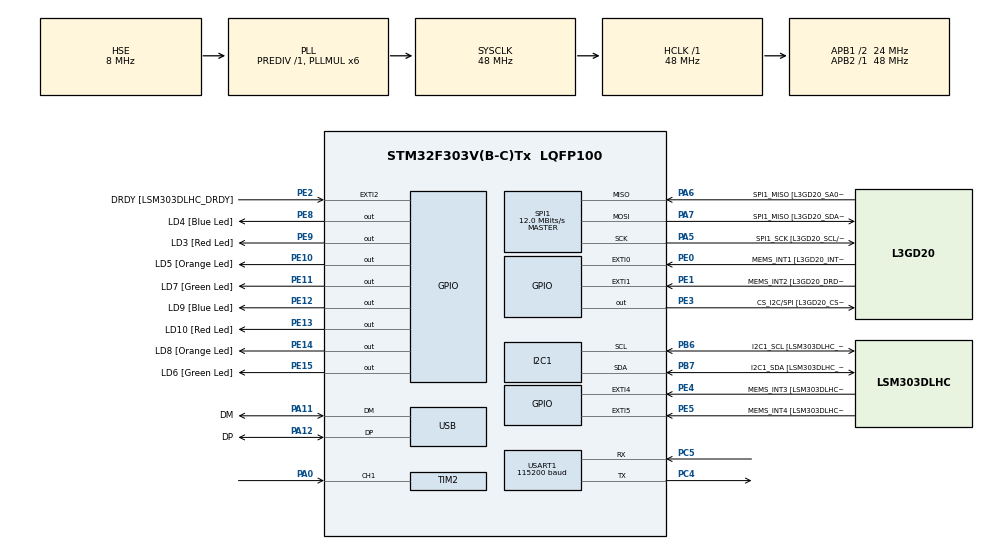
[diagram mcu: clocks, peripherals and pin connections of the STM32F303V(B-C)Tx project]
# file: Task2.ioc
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I2C1.Timing=0x00201D2B
I2C1.Timing-I2C=0x2000090E
Mcu.Family=STM32F3
Mcu.Name=STM32F303V(B-C)Tx
Mcu.Package=LQFP100
NVIC.PriorityGroup=NVIC_PRIORITYGROUP_0
NVIC.TIM2_IRQn=true\:0\:0\:false\:false\:true\:true\:true\:true
PA0.Signal=S_TIM2_CH1_ETR
PA11.GPIO_Label=DM
PA11.Mode=Device
PA11.Signal=USB_DM
PA12.GPIO_Label=DP
PA12.Mode=Device
PA12.Signal=USB_DP
PA13.GPIO_Label=SWDIO
PA13.Mode=Serial_Wire
PA13.Signal=SYS_JTMS-SWDIO
PA14.GPIO_Label=SWCLK
PA14.Mode=Serial_Wire
PA14.Signal=SYS_JTCK-SWCLK
PA5.GPIO_Label=SPI1_SCK [L3GD20_SCL/SPC]
PA5.Mode=Full_Duplex_Master
PA5.Signal=SPI1_SCK
PA6.GPIO_Label=SPI1_MISO [L3GD20_SA0/SDO]
PA6.Mode=Full_Duplex_Master
PA6.Signal=SPI1_MISO
PA7.GPIO_Label=SPI1_MISO [L3GD20_SDA/SDI/SDO]
PA7.Mode=Full_Duplex_Master
PA7.Signal=SPI1_MOSI
PB3.GPIO_Label=SWO
PB3.Signal=SYS_JTDO-TRACESWO
PB6.GPIO_Label=I2C1_SCL [LSM303DLHC_SCL]
PB6.GPIO_Pu=GPIO_PULLUP
PB6.Mode=I2C
PB6.Signal=I2C1_SCL
PB7.GPIO_Label=I2C1_SDA [LSM303DLHC_SDA]
PB7.GPIO_Pu=GPIO_PULLUP
PB7.Mode=I2C
PB7.Signal=I2C1_SDA
PC14-OSC32_IN.GPIO_Label=OSC32_IN
PC14-OSC32_IN.Signal=RCC_OSC32_IN
PC15-OSC32_OUT.GPIO_Label=OSC32_OUT
PC15-OSC32_OUT.Signal=RCC_OSC32_OUT
PC4.Mode=Asynchronous
PC4.Signal=USART1_TX
PC5.Mode=Asynchronous
PC5.Signal=USART1_RX
PE0.GPIO_Label=MEMS_INT1 [L3GD20_INT1]
PE0.GPIO_ModeDefaultEXTI=GPIO_MODE_EVT_RISING
PE0.Signal=GPXTI0
PE1.GPIO_Label=MEMS_INT2 [L3GD20_DRDY/INT2]
PE1.GPIO_ModeDefaultEXTI=GPIO_MODE_EVT_RISING
PE1.Signal=GPXTI1
PE10.GPIO_Label=LD5 [Orange Led]
PE10.Signal=GPIO_Output
PE11.GPIO_Label=LD7 [Green Led]
PE11.Signal=GPIO_Output
PE12.GPIO_Label=LD9 [Blue Led]
PE12.Signal=GPIO_Output
PE13.GPIO_Label=LD10 [Red Led]
PE13.Signal=GPIO_Output
PE14.GPIO_Label=LD8 [Orange Led]
PE14.Signal=GPIO_Output
PE15.GPIO_Label=LD6 [Green Led]
PE15.Signal=GPIO_Output
PE2.GPIO_Label=DRDY [LSM303DLHC_DRDY]
PE2.GPIO_ModeDefaultEXTI=GPIO_MODE_EVT_RISING
PE2.Signal=GPXTI2
PE3.GPIO_Label=CS_I2C/SPI [L3GD20_CS_I2C/SPI]
PE3.Signal=GPIO_Output
PE4.GPIO_Label=MEMS_INT3 [LSM303DLHC_INT1]
PE4.GPIO_ModeDefaultEXTI=GPIO_MODE_EVT_RISING
PE4.Signal=GPXTI4
PE5.GPIO_Label=MEMS_INT4 [LSM303DLHC_INT2]
PE5.GPIO_ModeDefaultEXTI=GPIO_MODE_EVT_RISING
PE5.Signal=GPXTI5
PE8.GPIO_Label=LD4 [Blue Led]
PE8.Signal=GPIO_Output
PE9.GPIO_Label=LD3 [Red Led]
PE9.Signal=GPIO_Output
PF0-OSC_IN.GPIO_Label=OSC_IN
PF0-OSC_IN.Mode=HSE-External-Clock-Source
PF0-OSC_IN.Signal=RCC_OSC_IN
PF1-OSC_OUT.GPIO_Label=OSC_OUT
PF1-OSC_OUT.Signal=RCC_OSC_OUT
ProjectManager.HeapSize=0x200
ProjectManager.StackSize=0x400
ProjectManager.TargetToolchain=CMake
RCC.AHBFreq_Value=48000000
RCC.APB1CLKDivider=RCC_HCLK_DIV2
RCC.APB1Freq_Value=24000000
RCC.APB1TimFreq_Value=48000000
RCC.APB2Freq_Value=48000000
RCC.APB2TimFreq_Value=48000000
RCC.CortexFreq_Value=48000000
RCC.HCLKFreq_Value=48000000
RCC.HSE_VALUE=8000000
RCC.HSI_VALUE=8000000
RCC.LSE_VALUE=32768
RCC.PLLMUL=RCC_PLL_MUL6
RCC.SYSCLKFreq_VALUE=48000000
RCC.SYSCLKSourceVirtual=RCC_SYSCLKSOURCE_PLLCLK
RCC.USBFreq_Value=48000000
SH.S_TIM2_CH1_ETR.0=TIM2_CH1,Input_Capture1_from_TI1
SPI1.BaudRatePrescaler=SPI_BAUDRATEPRESCALER_4
SPI1.BaudRatePrescaler-Full_Duplex_Master=SPI_BAUDRATEPRESCALER_2
SPI1.CalculateBaudRate=12.0 MBits/s
SPI1.CalculateBaudRate-Full_Duplex_Master=24.0 MBits/s
SPI1.Direction=SPI_DIRECTION_2LINES
SPI1.Mode=SPI_MODE_MASTER
SPI1.Mode-Full_Duplex_Master=SPI_MODE_MASTER
SPI1.VirtualType=VM_MASTER
TIM2.Channel-Input_Capture1_from_TI1=TIM_CHANNEL_1
TIM2.Prescaler=71
USART1.BaudRate=115200
USART1.VirtualMode-Asynchronous=VM_ASYNC
board=STM32F3DISCOVERY

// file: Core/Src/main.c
/* USER CODE BEGIN Header */
/**
  ******************************************************************************
  * @file           : main.c
  * @brief          : Main program body
  ******************************************************************************
  * @attention
  *
  * Copyright (c) 2026 STMicroelectronics.
  * All rights reserved.
  *
  * This software is licensed under terms that can be found in the LICENSE file
  * in the root directory of this software component.
  * If no LICENSE file comes with this software, it is provided AS-IS.
  *
  ******************************************************************************
  */
/* USER CODE END Header */
#include "main.h"

/* USER CODE BEGIN Includes */
#include <stdio.h>
/* USER CODE END Includes */

I2C_HandleTypeDef hi2c1;

SPI_HandleTypeDef hspi1;

TIM_HandleTypeDef htim2;

UART_HandleTypeDef huart1;

PCD_HandleTypeDef hpcd_USB_FS;

/* USER CODE BEGIN PV */
uint32_t ic_val1 = 0;
uint32_t ic_val2 = 0;
uint32_t difference = 0;
uint32_t tim2_frequency = 72000000 / 72;
float frequency = 0.0;

/* USER CODE END PV */

void SystemClock_Config(void);
static void MX_GPIO_Init(void);
static void MX_I2C1_Init(void);
static void MX_SPI1_Init(void);
static void MX_TIM2_Init(void);
static void MX_USART1_UART_Init(void);
static void MX_USB_PCD_Init(void);

int main(void)
{

  /* MCU Configuration--------------------------------------------------------*/

  /* Reset of all peripherals, Initializes the Flash interface and the Systick. */
  HAL_Init();

  /* Configure the system clock */
  SystemClock_Config();

  /* Initialize all configured peripherals */
  MX_GPIO_Init();
  MX_I2C1_Init();
  MX_SPI1_Init();
  MX_TIM2_Init();
  MX_USART1_UART_Init();
  MX_USB_PCD_Init();
  /* USER CODE BEGIN 2 */
  HAL_TIM_IC_Start_IT(&htim2, TIM_CHANNEL_1);
  /* USER CODE END 2 */

  /* Infinite loop */
  while (1)
  {

    /* USER CODE BEGIN 3 */
    HAL_Delay(10);
  }
  /* USER CODE END 3 */
}

void SystemClock_Config(void)
{
  RCC_OscInitTypeDef RCC_OscInitStruct = {0};
  RCC_ClkInitTypeDef RCC_ClkInitStruct = {0};
  RCC_PeriphCLKInitTypeDef PeriphClkInit = {0};

  /** Initializes the RCC Oscillators according to the specified parameters
  * in the RCC_OscInitTypeDef structure.
  */
  RCC_OscInitStruct.OscillatorType = RCC_OSCILLATORTYPE_HSI|RCC_OSCILLATORTYPE_HSE;
  RCC_OscInitStruct.HSEState = RCC_HSE_BYPASS;
  RCC_OscInitStruct.HSEPredivValue = RCC_HSE_PREDIV_DIV1;
  RCC_OscInitStruct.HSIState = RCC_HSI_ON;
  RCC_OscInitStruct.HSICalibrationValue = RCC_HSICALIBRATION_DEFAULT;
  RCC_OscInitStruct.PLL.PLLState = RCC_PLL_ON;
  RCC_OscInitStruct.PLL.PLLSource = RCC_PLLSOURCE_HSE;
  RCC_OscInitStruct.PLL.PLLMUL = RCC_PLL_MUL6;
  if (HAL_RCC_OscConfig(&RCC_OscInitStruct) != HAL_OK)
  {
    Error_Handler();
  }

  /** Initializes the CPU, AHB and APB buses clocks
  */
  RCC_ClkInitStruct.ClockType = RCC_CLOCKTYPE_HCLK|RCC_CLOCKTYPE_SYSCLK
                              |RCC_CLOCKTYPE_PCLK1|RCC_CLOCKTYPE_PCLK2;
  RCC_ClkInitStruct.SYSCLKSource = RCC_SYSCLKSOURCE_PLLCLK;
  RCC_ClkInitStruct.AHBCLKDivider = RCC_SYSCLK_DIV1;
  RCC_ClkInitStruct.APB1CLKDivider = RCC_HCLK_DIV2;
  RCC_ClkInitStruct.APB2CLKDivider = RCC_HCLK_DIV1;

  if (HAL_RCC_ClockConfig(&RCC_ClkInitStruct, FLASH_LATENCY_1) != HAL_OK)
  {
    Error_Handler();
  }
  PeriphClkInit.PeriphClockSelection = RCC_PERIPHCLK_USB|RCC_PERIPHCLK_USART1
                              |RCC_PERIPHCLK_I2C1;
  PeriphClkInit.Usart1ClockSelection = RCC_USART1CLKSOURCE_PCLK2;
  PeriphClkInit.I2c1ClockSelection = RCC_I2C1CLKSOURCE_HSI;
  PeriphClkInit.USBClockSelection = RCC_USBCLKSOURCE_PLL;
  if (HAL_RCCEx_PeriphCLKConfig(&PeriphClkInit) != HAL_OK)
  {
    Error_Handler();
  }
}

static void MX_I2C1_Init(void)
{

  hi2c1.Instance = I2C1;
  hi2c1.Init.Timing = 0x00201D2B;
  hi2c1.Init.OwnAddress1 = 0;
  hi2c1.Init.AddressingMode = I2C_ADDRESSINGMODE_7BIT;
  hi2c1.Init.DualAddressMode = I2C_DUALADDRESS_DISABLE;
  hi2c1.Init.OwnAddress2 = 0;
  hi2c1.Init.OwnAddress2Masks = I2C_OA2_NOMASK;
  hi2c1.Init.GeneralCallMode = I2C_GENERALCALL_DISABLE;
  hi2c1.Init.NoStretchMode = I2C_NOSTRETCH_DISABLE;
  if (HAL_I2C_Init(&hi2c1) != HAL_OK)
  {
    Error_Handler();
  }

  /** Configure Analogue filter
  */
  if (HAL_I2CEx_ConfigAnalogFilter(&hi2c1, I2C_ANALOGFILTER_ENABLE) != HAL_OK)
  {
    Error_Handler();
  }

  /** Configure Digital filter
  */
  if (HAL_I2CEx_ConfigDigitalFilter(&hi2c1, 0) != HAL_OK)
  {
    Error_Handler();
  }

}

static void MX_SPI1_Init(void)
{

  /* SPI1 parameter configuration*/
  hspi1.Instance = SPI1;
  hspi1.Init.Mode = SPI_MODE_MASTER;
  hspi1.Init.Direction = SPI_DIRECTION_2LINES;
  hspi1.Init.DataSize = SPI_DATASIZE_4BIT;
  hspi1.Init.CLKPolarity = SPI_POLARITY_LOW;
  hspi1.Init.CLKPhase = SPI_PHASE_1EDGE;
  hspi1.Init.NSS = SPI_NSS_SOFT;
  hspi1.Init.BaudRatePrescaler = SPI_BAUDRATEPRESCALER_4;
  hspi1.Init.FirstBit = SPI_FIRSTBIT_MSB;
  hspi1.Init.TIMode = SPI_TIMODE_DISABLE;
  hspi1.Init.CRCCalculation = SPI_CRCCALCULATION_DISABLE;
  hspi1.Init.CRCPolynomial = 7;
  hspi1.Init.CRCLength = SPI_CRC_LENGTH_DATASIZE;
  hspi1.Init.NSSPMode = SPI_NSS_PULSE_ENABLE;
  if (HAL_SPI_Init(&hspi1) != HAL_OK)
  {
    Error_Handler();
  }

}

static void MX_TIM2_Init(void)
{

  TIM_MasterConfigTypeDef sMasterConfig = {0};
  TIM_IC_InitTypeDef sConfigIC = {0};

  htim2.Instance = TIM2;
  htim2.Init.Prescaler = 71;
  htim2.Init.CounterMode = TIM_COUNTERMODE_UP;
  htim2.Init.Period = 4294967295;
  htim2.Init.ClockDivision = TIM_CLOCKDIVISION_DIV1;
  htim2.Init.AutoReloadPreload = TIM_AUTORELOAD_PRELOAD_DISABLE;
  if (HAL_TIM_IC_Init(&htim2) != HAL_OK)
  {
    Error_Handler();
  }
  sMasterConfig.MasterOutputTrigger = TIM_TRGO_RESET;
  sMasterConfig.MasterSlaveMode = TIM_MASTERSLAVEMODE_DISABLE;
  if (HAL_TIMEx_MasterConfigSynchronization(&htim2, &sMasterConfig) != HAL_OK)
  {
    Error_Handler();
  }
  sConfigIC.ICPolarity = TIM_INPUTCHANNELPOLARITY_RISING;
  sConfigIC.ICSelection = TIM_ICSELECTION_DIRECTTI;
  sConfigIC.ICPrescaler = TIM_ICPSC_DIV1;
  sConfigIC.ICFilter = 0;
  if (HAL_TIM_IC_ConfigChannel(&htim2, &sConfigIC, TIM_CHANNEL_1) != HAL_OK)
  {
    Error_Handler();
  }

}

static void MX_USART1_UART_Init(void)
{

  huart1.Instance = USART1;
  huart1.Init.BaudRate = 115200;
  huart1.Init.WordLength = UART_WORDLENGTH_8B;
  huart1.Init.StopBits = UART_STOPBITS_1;
  huart1.Init.Parity = UART_PARITY_NONE;
  huart1.Init.Mode = UART_MODE_TX_RX;
  huart1.Init.HwFlowCtl = UART_HWCONTROL_NONE;
  huart1.Init.OverSampling = UART_OVERSAMPLING_16;
  huart1.Init.OneBitSampling = UART_ONE_BIT_SAMPLE_DISABLE;
  huart1.AdvancedInit.AdvFeatureInit = UART_ADVFEATURE_NO_INIT;
  if (HAL_UART_Init(&huart1) != HAL_OK)
  {
    Error_Handler();
  }

}

static void MX_USB_PCD_Init(void)
{

  hpcd_USB_FS.Instance = USB;
  hpcd_USB_FS.Init.dev_endpoints = 8;
  hpcd_USB_FS.Init.speed = PCD_SPEED_FULL;
  hpcd_USB_FS.Init.phy_itface = PCD_PHY_EMBEDDED;
  hpcd_USB_FS.Init.low_power_enable = DISABLE;
  hpcd_USB_FS.Init.battery_charging_enable = DISABLE;
  if (HAL_PCD_Init(&hpcd_USB_FS) != HAL_OK)
  {
    Error_Handler();
  }

}

static void MX_GPIO_Init(void)
{
  GPIO_InitTypeDef GPIO_InitStruct = {0};

  /* GPIO Ports Clock Enable */
  __HAL_RCC_GPIOE_CLK_ENABLE();
  __HAL_RCC_GPIOC_CLK_ENABLE();
  __HAL_RCC_GPIOF_CLK_ENABLE();
  __HAL_RCC_GPIOA_CLK_ENABLE();
  __HAL_RCC_GPIOB_CLK_ENABLE();

  /*Configure GPIO pin Output Level */
  HAL_GPIO_WritePin(GPIOE, CS_I2C_SPI_Pin|LD4_Pin|LD3_Pin|LD5_Pin
                          |LD7_Pin|LD9_Pin|LD10_Pin|LD8_Pin
                          |LD6_Pin, GPIO_PIN_RESET);

  /*Configure GPIO pins : DRDY_Pin MEMS_INT3_Pin MEMS_INT4_Pin MEMS_INT1_Pin
                           MEMS_INT2_Pin */
  GPIO_InitStruct.Pin = DRDY_Pin|MEMS_INT3_Pin|MEMS_INT4_Pin|MEMS_INT1_Pin
                          |MEMS_INT2_Pin;
  GPIO_InitStruct.Mode = GPIO_MODE_EVT_RISING;
  GPIO_InitStruct.Pull = GPIO_NOPULL;
  HAL_GPIO_Init(GPIOE, &GPIO_InitStruct);

  /*Configure GPIO pins : CS_I2C_SPI_Pin LD4_Pin LD3_Pin LD5_Pin
                           LD7_Pin LD9_Pin LD10_Pin LD8_Pin
                           LD6_Pin */
  GPIO_InitStruct.Pin = CS_I2C_SPI_Pin|LD4_Pin|LD3_Pin|LD5_Pin
                          |LD7_Pin|LD9_Pin|LD10_Pin|LD8_Pin
                          |LD6_Pin;
  GPIO_InitStruct.Mode = GPIO_MODE_OUTPUT_PP;
  GPIO_InitStruct.Pull = GPIO_NOPULL;
  GPIO_InitStruct.Speed = GPIO_SPEED_FREQ_LOW;
  HAL_GPIO_Init(GPIOE, &GPIO_InitStruct);

}

/* USER CODE BEGIN 4 */
void HAL_TIM_IC_CaptureCallback(TIM_HandleTypeDef *htim)
{
  if (htim->Instance == TIM2)
  {
    ic_val2 = HAL_TIM_ReadCapturedValue(htim, TIM_CHANNEL_1);

    if (ic_val2 > ic_val1)
    {
      difference = ic_val2 - ic_val1;
    }
    else
    {
      difference = (0xFFFFFFFF - ic_val1) + ic_val2;
    }

    if (difference > 0)
    {
      frequency = (float)tim2_frequency / (float)difference;
      char buffer[50];
      int len = sprintf(buffer, "Frequency: %.2f Hz\r\n", frequency);
      HAL_UART_Transmit(&huart1, (uint8_t*)buffer, len, HAL_MAX_DELAY);
    }

    ic_val1 = ic_val2;
  }
}

/* USER CODE END 4 */

void Error_Handler(void)
{
  __disable_irq();
  while (1)
  {
  }
}
